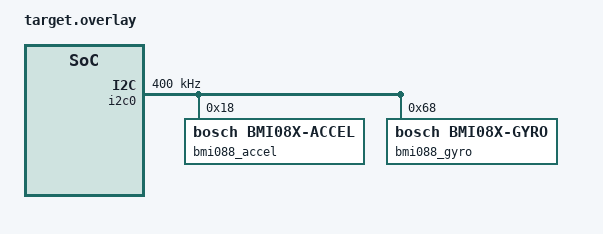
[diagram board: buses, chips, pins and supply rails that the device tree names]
/*
 * RiskyBird ESP32-C6 base-board contract.
 *
 * This wiring is derived from the previously deployed BMI088 application.
 * It remains declared, rather than newly measured, until an in-repository
 * hardware capture confirms the addresses and identities.
 */

/* The populated ESP32-C6FH4 carries 4 MiB, not the devkit target's 8 MiB. */
&flash0 {
	reg = <0x0 DT_SIZE_M(4)>;
};

&pinctrl {
	riskybird_i2c0_default: riskybird_i2c0_default {
		group1 {
			pinmux = <I2C0_SDA_GPIO15>,
				 <I2C0_SCL_GPIO14>;
			bias-pull-up;
			drive-open-drain;
			output-high;
		};
	};
};

&i2c0 {
	status = "okay";
	pinctrl-0 = <&riskybird_i2c0_default>;
	pinctrl-names = "default";
	clock-frequency = <I2C_BITRATE_FAST>;

	bmi088_accel: accelerometer@18 {
		compatible = "bosch,bmi08x-accel";
		reg = <0x18>;
		accel-hz = "200";
		accel-fs = <6>;
		status = "okay";
	};

	bmi088_gyro: gyroscope@68 {
		compatible = "bosch,bmi08x-gyro";
		reg = <0x68>;
		gyro-hz = "200_64";
		gyro-fs = <1000>;
		status = "okay";
	};
};

/ {
	aliases {
		bmi088-accel = &bmi088_accel;
		bmi088-gyro = &bmi088_gyro;
	};
};
